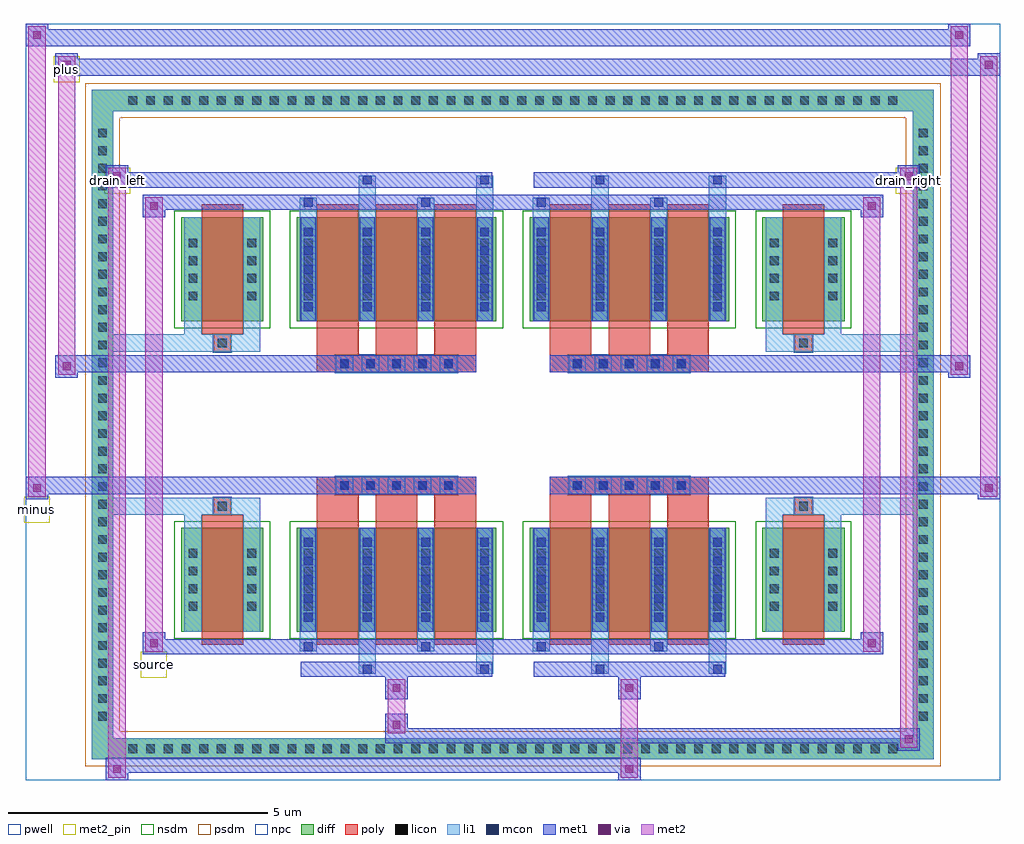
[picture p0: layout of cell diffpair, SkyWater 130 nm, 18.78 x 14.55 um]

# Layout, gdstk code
import gdstk
lib = gdstk.Library(unit=1e-6, precision=5e-09)
def R(c, l, rs):  # rectangles x0, y0, x1, y1
    for r in rs: c.add(gdstk.rectangle(r[:2], r[2:], *l))
def A(c, l, x, y, w, h, nx, ny, dx, dy):  # array of equal rectangles
    R(c, l, [(x+i*dx, y+j*dy, x+i*dx+w, y+j*dy+h) for i in range(nx) for j in range(ny)])
def P(c, l, *ps):  # polygons
    for p in ps: c.add(gdstk.Polygon(p, *l))
pwell = (64, 44)
diff = (65, 20)
poly = (66, 20)
licon = (66, 44)
li1 = (67, 20)
mcon = (67, 44)
met1 = (68, 20)
via = (68, 44)
met2_pin = (69, 16)
met2 = (69, 20)
nsdm = (93, 44)
psdm = (94, 20)
npc = (95, 20)

diffpair = lib.new_cell('diffpair')
R(diffpair, pwell, [(-9.37,-6.84,9.37,7.71), (-6.69,-5.03,-0.01,-0.805), (0.01,-5.03,6.69,-0.805), (-6.69,0.805,-0.01,5.03), (0.01,0.805,6.69,5.03)])
A(diffpair, diff, -7.515, -6.44, 0.41, 0.41, 44, 2, 0.34, 12.47)
A(diffpair, diff, -8.1, -5.815, 0.41, 0.41, 1, 34, 0, 0.34)
A(diffpair, diff, 7.69, -5.815, 0.41, 0.41, 1, 34, 0, 0.34)
R(diffpair, diff, [(-7.515,-6.44,7.515,-6.03), (-8.1,-5.815,-7.69,5.815), (7.69,-5.815,8.1,5.815), (-6.38,-3.985,-4.8,-1.985), (-4.16,-3.985,-0.32,-1.985), (0.32,-3.985,4.16,-1.985), (4.8,-3.985,6.38,-1.985), (-6.38,1.985,-4.8,3.985), (-4.16,1.985,-0.32,3.985), (0.32,1.985,4.16,3.985), (4.8,1.985,6.38,3.985), (-7.515,6.03,7.515,6.44)])
P(diffpair, diff, [(8.1,6.44),(-8.1,6.44),(-8.1,-6.03),(-7.69,-6.03),(-7.69,6.03),(7.69,6.03),(7.69,-6.03),(-7.69,-6.03),(-8.1,-6.03),(-8.1,-6.44),(8.1,-6.44)])
A(diffpair, poly, -3.77, -4.235, 0.8, 2.5, 3, 2, 1.13, 5.97)
A(diffpair, poly, 0.71, -4.235, 0.8, 2.5, 3, 2, 1.13, 5.97)
A(diffpair, poly, -3.77, -1.735, 0.8, 0.4, 3, 2, 1.13, 3.07)
A(diffpair, poly, 0.71, -1.735, 0.8, 0.4, 3, 2, 1.13, 3.07)
A(diffpair, poly, -3.405, -1.335, 0.33, 0.33, 5, 2, 0.5, 2.34)
A(diffpair, poly, 1.075, -1.335, 0.33, 0.33, 5, 2, 0.5, 2.34)
R(diffpair, poly, [(-5.99,-4.235,-5.19,-1.735), (5.19,-4.235,5.99,-1.735), (-5.755,-1.735,-5.425,-1.405), (-5.755,-1.735,-5.425,-1.405), (5.425,-1.735,5.755,-1.405), (5.425,-1.735,5.755,-1.405), (-3.77,-1.335,-0.71,-1.005), (0.71,-1.335,3.77,-1.005), (-3.77,1.005,-0.71,1.335), (0.71,1.005,3.77,1.335), (-5.755,1.405,-5.425,1.735), (-5.755,1.405,-5.425,1.735), (5.425,1.405,5.755,1.735), (5.425,1.405,5.755,1.735), (-5.99,1.735,-5.19,4.235), (5.19,1.735,5.99,4.235)])
A(diffpair, licon, -7.395, -6.32, 0.17, 0.17, 44, 2, 0.34, 12.47)
A(diffpair, licon, -7.98, -5.695, 0.17, 0.17, 1, 34, 0, 0.34)
A(diffpair, licon, 7.81, -5.695, 0.17, 0.17, 1, 34, 0, 0.34)
A(diffpair, licon, -6.24, -3.58, 0.17, 0.17, 1, 4, 0, 0.34)
A(diffpair, licon, -5.11, -3.58, 0.17, 0.17, 1, 4, 0, 0.34)
A(diffpair, licon, -4.02, -3.58, 0.17, 0.17, 4, 4, 1.13, 0.34)
A(diffpair, licon, 0.46, -3.58, 0.17, 0.17, 4, 4, 1.13, 0.34)
A(diffpair, licon, 4.94, -3.58, 0.17, 0.17, 1, 4, 0, 0.34)
A(diffpair, licon, 6.07, -3.58, 0.17, 0.17, 1, 4, 0, 0.34)
A(diffpair, licon, -3.325, -1.255, 0.17, 0.17, 5, 2, 0.5, 2.34)
A(diffpair, licon, 1.155, -1.255, 0.17, 0.17, 5, 2, 0.5, 2.34)
A(diffpair, licon, -6.24, 2.39, 0.17, 0.17, 1, 4, 0, 0.34)
A(diffpair, licon, -5.11, 2.39, 0.17, 0.17, 1, 4, 0, 0.34)
A(diffpair, licon, -4.02, 2.39, 0.17, 0.17, 4, 4, 1.13, 0.34)
A(diffpair, licon, 0.46, 2.39, 0.17, 0.17, 4, 4, 1.13, 0.34)
A(diffpair, licon, 4.94, 2.39, 0.17, 0.17, 1, 4, 0, 0.34)
A(diffpair, licon, 6.07, 2.39, 0.17, 0.17, 1, 4, 0, 0.34)
R(diffpair, licon, [(-5.675,-1.655,-5.505,-1.485), (5.505,-1.655,5.675,-1.485), (-5.675,1.485,-5.505,1.655), (5.505,1.485,5.675,1.655)])
A(diffpair, li1, -7.475, -6.4, 0.33, 0.33, 44, 2, 0.34, 12.47)
A(diffpair, li1, -8.06, -5.775, 0.33, 0.33, 1, 34, 0, 0.34)
A(diffpair, li1, 7.73, -5.775, 0.33, 0.33, 1, 34, 0, 0.34)
A(diffpair, li1, -4.1, -3.985, 0.33, 2, 4, 2, 1.13, 5.97)
A(diffpair, li1, 0.38, -3.985, 0.33, 2, 4, 2, 1.13, 5.97)
A(diffpair, li1, -4.02, -3.79, 0.17, 0.17, 4, 5, 1.13, 0.36)
A(diffpair, li1, -4.02, -3.79, 0.17, 1.61, 4, 2, 1.13, 5.97)
A(diffpair, li1, 0.46, -3.79, 0.17, 0.17, 4, 5, 1.13, 0.36)
A(diffpair, li1, 0.46, -3.79, 0.17, 1.61, 4, 2, 1.13, 5.97)
A(diffpair, li1, -6.32, -3.66, 0.33, 0.33, 1, 4, 0, 0.34)
A(diffpair, li1, -5.19, -3.66, 0.33, 0.33, 1, 4, 0, 0.34)
A(diffpair, li1, -4.1, -3.66, 0.33, 0.33, 4, 4, 1.13, 0.34)
A(diffpair, li1, 0.38, -3.66, 0.33, 0.33, 4, 4, 1.13, 0.34)
A(diffpair, li1, 4.86, -3.66, 0.33, 0.33, 1, 4, 0, 0.34)
A(diffpair, li1, 5.99, -3.66, 0.33, 0.33, 1, 4, 0, 0.34)
A(diffpair, li1, -3.405, -1.335, 0.33, 0.33, 5, 2, 0.5, 2.34)
A(diffpair, li1, 1.075, -1.335, 0.33, 0.33, 5, 2, 0.5, 2.34)
A(diffpair, li1, -4.02, 2.18, 0.17, 0.17, 4, 5, 1.13, 0.36)
A(diffpair, li1, 0.46, 2.18, 0.17, 0.17, 4, 5, 1.13, 0.36)
A(diffpair, li1, -6.32, 2.31, 0.33, 0.33, 1, 4, 0, 0.34)
A(diffpair, li1, -5.19, 2.31, 0.33, 0.33, 1, 4, 0, 0.34)
A(diffpair, li1, -4.1, 2.31, 0.33, 0.33, 4, 4, 1.13, 0.34)
A(diffpair, li1, 0.38, 2.31, 0.33, 0.33, 4, 4, 1.13, 0.34)
A(diffpair, li1, 4.86, 2.31, 0.33, 0.33, 1, 4, 0, 0.34)
A(diffpair, li1, 5.99, 2.31, 0.33, 0.33, 1, 4, 0, 0.34)
R(diffpair, li1, [(-8.1,-6.44,-7.69,-6.03), (-8.1,-6.44,-7.69,-6.03), (-7.69,-6.44,7.69,-6.03), (7.69,-6.44,8.1,-6.03), (7.69,-6.44,8.1,-6.03), (-8.1,-6.03,-7.69,6.03), (7.69,-6.03,8.1,6.03), (-2.97,-4.79,-2.64,-3.985), (-2.89,-4.79,-2.72,-4.62), (-0.71,-4.79,-0.38,-3.985), (-0.63,-4.79,-0.46,-4.62), (1.51,-4.79,1.84,-3.985), (1.59,-4.79,1.76,-4.62), (3.77,-4.79,4.1,-3.985), (3.85,-4.79,4.02,-4.62), (-4.1,-4.36,-3.77,-3.985), (-4.02,-4.36,-3.85,-4.19), (-1.84,-4.36,-1.51,-3.985), (-1.76,-4.36,-1.59,-4.19), (0.38,-4.36,0.71,-3.985), (0.46,-4.36,0.63,-4.19), (2.64,-4.36,2.97,-3.985), (2.72,-4.36,2.89,-4.19), (-6.32,-3.985,-5.99,-1.985), (-5.19,-3.985,-4.86,-1.985), (4.86,-3.985,5.19,-1.985), (5.99,-3.985,6.32,-1.985), (-6.32,-1.985,-5.99,-1.405), (-5.19,-1.985,-4.86,-1.405), (4.86,-1.985,5.19,-1.405), (5.99,-1.985,6.32,-1.405), (-8.1,-1.735,-5.755,-1.405), (-6.32,-1.735,-5.755,-1.405), (-5.755,-1.735,-5.425,-1.405), (-5.425,-1.735,-4.86,-1.405), (4.86,-1.735,5.425,-1.405), (5.425,-1.735,5.755,-1.405), (5.425,-1.735,8.1,-1.405), (5.755,-1.735,6.32,-1.405), (-8.1,1.405,-5.755,1.735), (-6.32,1.405,-5.755,1.735), (-6.32,1.405,-5.99,1.985), (-5.755,1.405,-5.425,1.735), (-5.425,1.405,-4.86,1.735), (-5.19,1.405,-4.86,1.985), (4.86,1.405,5.425,1.735), (4.86,1.405,5.19,1.985), (5.425,1.405,5.755,1.735), (5.425,1.405,8.1,1.735), (5.755,1.405,6.32,1.735), (5.99,1.405,6.32,1.985), (-6.32,1.985,-5.99,3.985), (-5.19,1.985,-4.86,3.985), (4.86,1.985,5.19,3.985), (5.99,1.985,6.32,3.985), (-4.1,3.985,-3.77,4.36), (-2.97,3.985,-2.64,4.79), (-1.84,3.985,-1.51,4.36), (-0.71,3.985,-0.38,4.79), (0.38,3.985,0.71,4.36), (1.51,3.985,1.84,4.79), (2.64,3.985,2.97,4.36), (3.77,3.985,4.1,4.79), (-4.02,4.19,-3.85,4.36), (-1.76,4.19,-1.59,4.36), (0.46,4.19,0.63,4.36), (2.72,4.19,2.89,4.36), (-2.89,4.62,-2.72,4.79), (-0.63,4.62,-0.46,4.79), (1.59,4.62,1.76,4.79), (3.85,4.62,4.02,4.79), (-8.1,6.03,-7.69,6.44), (-8.1,6.03,-7.69,6.44), (-7.69,6.03,7.69,6.44), (7.69,6.03,8.1,6.44), (7.69,6.03,8.1,6.44)])
A(diffpair, mcon, -4.02, -3.79, 0.17, 0.17, 4, 5, 1.13, 0.36)
A(diffpair, mcon, 0.46, -3.79, 0.17, 0.17, 4, 5, 1.13, 0.36)
A(diffpair, mcon, -3.325, -1.255, 0.17, 0.17, 5, 2, 0.5, 2.34)
A(diffpair, mcon, 1.155, -1.255, 0.17, 0.17, 5, 2, 0.5, 2.34)
A(diffpair, mcon, -4.02, 2.18, 0.17, 0.17, 4, 5, 1.13, 0.36)
A(diffpair, mcon, 0.46, 2.18, 0.17, 0.17, 4, 5, 1.13, 0.36)
R(diffpair, mcon, [(-2.89,-4.79,-2.72,-4.62), (-0.63,-4.79,-0.46,-4.62), (1.59,-4.79,1.76,-4.62), (3.85,-4.79,4.02,-4.62), (-4.02,-4.36,-3.85,-4.19), (-1.76,-4.36,-1.59,-4.19), (0.46,-4.36,0.63,-4.19), (2.72,-4.36,2.89,-4.19), (-4.02,4.19,-3.85,4.36), (-1.76,4.19,-1.59,4.36), (0.46,4.19,0.63,4.36), (2.72,4.19,2.89,4.36), (-2.89,4.62,-2.72,4.79), (-0.63,4.62,-0.46,4.79), (1.59,4.62,1.76,4.79), (3.85,4.62,4.02,4.79)])
A(diffpair, met1, -4.08, -3.985, 0.29, 2, 4, 2, 1.13, 5.97)
A(diffpair, met1, 0.4, -3.985, 0.29, 2, 4, 2, 1.13, 5.97)
A(diffpair, met1, -4.08, -3.85, 0.29, 0.29, 4, 5, 1.13, 0.36)
A(diffpair, met1, 0.4, -3.85, 0.29, 0.29, 4, 5, 1.13, 0.36)
A(diffpair, met1, -3.385, -1.315, 0.29, 0.29, 5, 2, 0.5, 2.34)
A(diffpair, met1, 1.095, -1.315, 0.29, 0.29, 5, 2, 0.5, 2.34)
A(diffpair, met1, -4.08, 2.12, 0.29, 0.29, 4, 5, 1.13, 0.36)
A(diffpair, met1, 0.4, 2.12, 0.29, 0.29, 4, 5, 1.13, 0.36)
R(diffpair, met1, [(-7.83,-6.84,-7.4,-6.41), (2.025,-6.84,2.455,-6.41), (-7.83,-6.7,2.455,-6.41), (7.4,-6.27,7.83,-5.84), (-2.455,-6.13,7.83,-5.84), (-2.455,-5.99,-2.025,-5.56), (-2.455,-5.28,-2.025,-4.85), (2.025,-5.28,2.455,-4.85), (-4.08,-4.85,-0.4,-4.56), (-2.95,-4.85,-2.66,-4.56), (-0.69,-4.85,-0.4,-4.56), (0.4,-4.85,4.08,-4.56), (1.53,-4.85,1.82,-4.56), (3.79,-4.85,4.08,-4.56), (-7.12,-4.42,-6.69,-3.99), (-7.12,-4.42,-4.08,-4.13), (-4.08,-4.42,-3.79,-4.13), (-4.08,-4.42,-0.4,-4.13), (-1.82,-4.42,-1.53,-4.13), (-0.4,-4.42,0.4,-4.13), (0.4,-4.42,0.69,-4.13), (0.4,-4.42,4.08,-4.13), (2.66,-4.42,2.95,-4.13), (4.08,-4.42,7.12,-4.13), (6.69,-4.42,7.12,-3.99), (-9.37,-1.435,-8.94,-1.005), (8.94,-1.435,9.37,-1.005), (-9.37,-1.335,-0.71,-1.005), (-3.77,-1.335,-0.71,-1.005), (0.71,-1.335,3.77,-1.005), (0.71,-1.335,9.37,-1.005), (-8.8,0.905,-8.37,1.335), (8.37,0.905,8.8,1.335), (-8.8,1.005,-3.77,1.335), (-3.77,1.005,-0.71,1.335), (0.71,1.005,3.77,1.335), (3.77,1.005,8.8,1.335), (-7.12,3.99,-6.69,4.42), (6.69,3.99,7.12,4.42), (-7.12,4.13,-4.08,4.42), (-4.08,4.13,-3.79,4.42), (-4.08,4.13,-0.4,4.42), (-1.82,4.13,-1.53,4.42), (-0.4,4.13,0.4,4.42), (0.4,4.13,0.69,4.42), (0.4,4.13,4.08,4.42), (2.66,4.13,2.95,4.42), (4.08,4.13,7.12,4.42), (-7.83,4.56,-7.4,4.99), (-7.83,4.56,-4.08,4.85), (-4.08,4.56,-0.4,4.85), (-2.95,4.56,-2.66,4.85), (-0.69,4.56,-0.4,4.85), (0.4,4.56,4.08,4.85), (1.53,4.56,1.82,4.85), (3.79,4.56,4.08,4.85), (4.08,4.56,7.83,4.85), (7.4,4.56,7.83,4.99), (-8.8,6.71,-8.37,7.14), (-8.8,6.71,-6.69,7.04), (-6.69,6.71,6.69,7.04), (6.69,6.71,9.37,7.04), (8.94,6.71,9.37,7.14), (-9.37,7.28,-8.94,7.71), (-9.37,7.28,-6.69,7.61), (-6.69,7.28,6.69,7.61), (6.69,7.28,8.8,7.61), (8.37,7.28,8.8,7.71)])
R(diffpair, via, [(-7.69,-6.7,-7.54,-6.55), (2.165,-6.7,2.315,-6.55), (7.54,-6.13,7.69,-5.98), (-2.315,-5.85,-2.165,-5.7), (-2.315,-5.14,-2.165,-4.99), (2.165,-5.14,2.315,-4.99), (-6.98,-4.28,-6.83,-4.13), (6.83,-4.28,6.98,-4.13), (-9.23,-1.295,-9.08,-1.145), (9.08,-1.295,9.23,-1.145), (-8.66,1.045,-8.51,1.195), (8.51,1.045,8.66,1.195), (-6.98,4.13,-6.83,4.28), (6.83,4.13,6.98,4.28), (-7.69,4.7,-7.54,4.85), (7.54,4.7,7.69,4.85), (-8.66,6.85,-8.51,7), (9.08,6.85,9.23,7), (-9.23,7.42,-9.08,7.57), (8.51,7.42,8.66,7.57)])
R(diffpair, met2_pin, [(-7.155,-4.87,-6.655,-4.37), (-9.405,-1.885,-8.905,-1.385), (-7.865,4.44,-7.365,4.94), (7.365,4.44,7.865,4.94), (-8.835,6.59,-8.335,7.09)])
R(diffpair, met2, [(-7.78,-6.79,-7.45,-6.46), (-7.78,-6.79,-7.45,4.94), (2.075,-6.79,2.405,-6.46), (2.075,-6.46,2.405,-5.23), (7.45,-6.22,7.78,-5.89), (7.45,-6.22,7.78,4.94), (-2.405,-5.94,-2.075,-5.61), (-2.405,-5.61,-2.075,-5.23), (-2.405,-5.23,-2.075,-4.9), (2.075,-5.23,2.405,-4.9), (-7.07,-4.37,-6.74,-4.04), (-7.07,-4.37,-6.74,4.37), (6.74,-4.37,7.07,-4.04), (6.74,-4.37,7.07,4.37), (-9.32,-1.385,-8.99,-1.055), (-9.32,-1.385,-8.99,7.66), (8.99,-1.385,9.32,-1.055), (8.99,-1.385,9.32,7.09), (-8.75,0.955,-8.42,1.285), (-8.75,0.955,-8.42,7.09), (8.42,0.955,8.75,1.285), (8.42,0.955,8.75,7.66), (-7.07,4.04,-6.74,4.37), (6.74,4.04,7.07,4.37), (-7.78,4.61,-7.45,4.94), (7.45,4.61,7.78,4.94), (-8.75,6.76,-8.42,7.09), (8.99,6.76,9.32,7.09), (-9.32,7.33,-8.99,7.66), (8.42,7.33,8.75,7.66)])
P(diffpair, met2, [(9.32,-1.385),(9.32,-1.385),(9.32,-1.055),(9.32,-1.055)],
  [(9.32,6.76),(9.32,6.76),(9.32,7.09),(9.32,7.09)],
  [(-8.99,-1.385),(-8.99,-1.385),(-8.99,-1.055),(-8.99,-1.055)],
  [(-8.99,7.33),(-8.99,7.33),(-8.99,7.66),(-8.99,7.66)],
  [(8.75,0.955),(8.75,0.955),(8.75,1.285),(8.75,1.285)],
  [(8.75,7.33),(8.75,7.33),(8.75,7.66),(8.75,7.66)],
  [(-8.42,0.955),(-8.42,0.955),(-8.42,1.285),(-8.42,1.285)],
  [(-8.42,6.76),(-8.42,6.76),(-8.42,7.09),(-8.42,7.09)],
  [(-7.45,-6.79),(-7.45,-6.79),(-7.45,-6.46),(-7.45,-6.46)],
  [(-7.45,4.61),(-7.45,4.61),(-7.45,4.94),(-7.45,4.94)],
  [(7.78,-6.22),(7.78,-6.22),(7.78,-5.89),(7.78,-5.89)],
  [(7.78,4.61),(7.78,4.61),(7.78,4.94),(7.78,4.94)],
  [(-6.74,-4.37),(-6.74,-4.37),(-6.74,-4.04),(-6.74,-4.04)],
  [(-6.74,4.04),(-6.74,4.04),(-6.74,4.37),(-6.74,4.37)],
  [(7.07,-4.37),(7.07,-4.37),(7.07,-4.04),(7.07,-4.04)],
  [(7.07,4.04),(7.07,4.04),(7.07,4.37),(7.07,4.37)])
R(diffpair, nsdm, [(-6.51,-4.115,-4.67,-1.855), (-4.29,-4.115,-0.19,-1.855), (0.19,-4.115,4.29,-1.855), (4.67,-4.115,6.51,-1.855), (-6.51,1.855,-4.67,4.115), (-4.29,1.855,-0.19,4.115), (0.19,1.855,4.29,4.115), (4.67,1.855,6.51,4.115)])
P(diffpair, psdm, [(8.23,6.57),(-8.23,6.57),(-8.23,-5.9),(-7.56,-5.9),(-7.56,5.9),(7.56,5.9),(7.56,-5.9),(-7.56,-5.9),(-8.23,-5.9),(-8.23,-6.57),(8.23,-6.57)])
A(diffpair, npc, -3.425, -1.355, 0.37, 0.37, 5, 2, 0.5, 2.34)
A(diffpair, npc, 1.055, -1.355, 0.37, 0.37, 5, 2, 0.5, 2.34)
R(diffpair, npc, [(-5.775,-1.755,-5.405,-1.385), (5.405,-1.755,5.775,-1.385), (-3.425,-1.355,-2.555,-0.985), (-3.425,-1.355,-2.555,-0.985), (-2.925,-1.355,-2.055,-0.985), (-2.925,-1.355,-2.055,-0.985), (-2.425,-1.355,-1.555,-0.985), (-2.425,-1.355,-1.555,-0.985), (-1.925,-1.355,-1.055,-0.985), (-1.925,-1.355,-1.055,-0.985), (1.055,-1.355,1.925,-0.985), (1.055,-1.355,1.925,-0.985), (1.555,-1.355,2.425,-0.985), (1.555,-1.355,2.425,-0.985), (2.055,-1.355,2.925,-0.985), (2.055,-1.355,2.925,-0.985), (2.555,-1.355,3.425,-0.985), (2.555,-1.355,3.425,-0.985), (-3.425,0.985,-2.555,1.355), (-3.425,0.985,-2.555,1.355), (-2.925,0.985,-2.055,1.355), (-2.925,0.985,-2.055,1.355), (-2.425,0.985,-1.555,1.355), (-2.425,0.985,-1.555,1.355), (-1.925,0.985,-1.055,1.355), (-1.925,0.985,-1.055,1.355), (1.055,0.985,1.925,1.355), (1.055,0.985,1.925,1.355), (1.555,0.985,2.425,1.355), (1.555,0.985,2.425,1.355), (2.055,0.985,2.925,1.355), (2.055,0.985,2.925,1.355), (2.555,0.985,3.425,1.355), (2.555,0.985,3.425,1.355), (-5.775,1.385,-5.405,1.755), (5.405,1.385,5.775,1.755)])
diffpair.add(gdstk.Label('minus', (-9.155,-1.635), layer=69, texttype=5))
diffpair.add(gdstk.Label('drain_right', (7.615,4.69), layer=69, texttype=5))
diffpair.add(gdstk.Label('drain_left', (-7.615,4.69), layer=69, texttype=5))
diffpair.add(gdstk.Label('source', (-6.905,-4.62), layer=69, texttype=5))
diffpair.add(gdstk.Label('plus', (-8.585,6.84), layer=69, texttype=5))

lib.write_gds('diffpair.gds')
